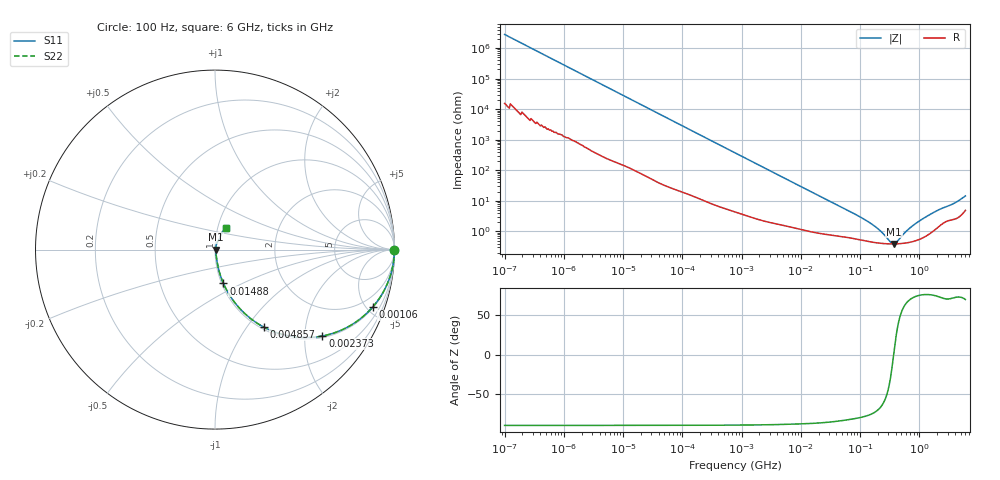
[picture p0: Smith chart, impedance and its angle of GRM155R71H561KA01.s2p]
!Murata Part Number: GRM155R71H561KA01
!These Parameters are Measured in Series Mode Connection
!Data Generated on Mar 30, 2021
!  o--ll--o
!Port1  Port2
!  o------o
!Operation Temp=25[degC], DC Bias Voltage=0[V]
!Freq. Start=100[Hz] Stop=6[GHz] 401[Steps]
# Hz S RI R 50
!Freq.(Hz) S11(Real) S11(Imag) S21(Real) S21(Imag) S12(Real) S12(Imag) S22(Real) S22(Imag)
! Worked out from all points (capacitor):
!   401 points, 100 Hz to 6 GHz, reference 50 ohm
!   read as one part in series: C = 569 pF near 109 Hz
!   lowest |Z| = 390 mohm at 373.7 MHz (marker M1)
!   series resonance near 368.8 MHz, so ESL is about 330 pH
!   S11 on the Smith chart (normalised r, x): 100 Hz: open; 1.06 MHz: 1.07, -5.45; 2.373 MHz: 1.04, -2.45; 4.857 MHz: 1.03, -1.20; 14.88 MHz: 1.02, -0.40; 6 GHz: 1.10, +0.27
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100  1 -3.58e-05  2e-07 3.58e-05  2e-07 3.58e-05  1 -3.58e-05
293  1 -0.000104  5e-07 0.000104  5e-07 0.000104  1 -0.000104
2008  1 -0.000712  3.9e-06 0.000712  3.9e-06 0.000712  1 -0.000712
40335  0.9997 -0.0142  0.000278 0.0142  0.000278 0.0142  0.9997 -0.0142
231233  0.9929 -0.0801  0.00711 0.0801  0.00711 0.0801  0.9929 -0.0801
774597  0.9301 -0.2491  0.0699 0.2491  0.0699 0.2491  0.9301 -0.2491
1059725  0.8782 -0.3206  0.1218 0.3206  0.1218 0.3206  0.8782 -0.3206
2372521  0.5981 -0.4814  0.4019 0.4814  0.4019 0.4814  0.5981 -0.4814
4856642  0.2714 -0.4316  0.7286 0.4316  0.7286 0.4316  0.2714 -0.4316
7947587  0.129 -0.3183  0.871 0.3183  0.871 0.3183  0.129 -0.3183
1.487547e7  0.0468 -0.1883  0.9532 0.1883  0.9532 0.1883  0.0468 -0.1883
1.555665e7  0.0436 -0.1808  0.9564 0.1808  0.9564 0.1808  0.0436 -0.1808
3.80911e7  0.0132 -0.0771  0.9868 0.0771  0.9868 0.0771  0.0132 -0.0771
1.334425e8  0.00515 -0.0207  0.9949 0.0207  0.9949 0.0207  0.00515 -0.0207
2.088084e8  0.00423 -0.0106  0.9958 0.0106  0.9958 0.0106  0.00423 -0.0106
3.124326e8  0.0039 -0.00296  0.9961 0.00296  0.9961 0.00296  0.0039 -0.00296
3.737127e8  0.00388 0.000238  0.9961 -0.000238  0.9961 -0.000238  0.00388 0.000238
4.274388e8  0.00392 0.00264  0.9961 -0.00264  0.9961 -0.00264  0.00392 0.00264
6.688484e8  0.00445 0.0113  0.9955 -0.0113  0.9955 -0.0113  0.00445 0.0113
1.046602e9  0.00612 0.0222  0.9939 -0.0222  0.9939 -0.0222  0.00612 0.0222
1.873145e9  0.0133 0.0423  0.9867 -0.0423  0.9867 -0.0423  0.0133 0.0423
6e9  0.0625 0.1219  0.9375 -0.1219  0.9375 -0.1219  0.0625 0.1219
